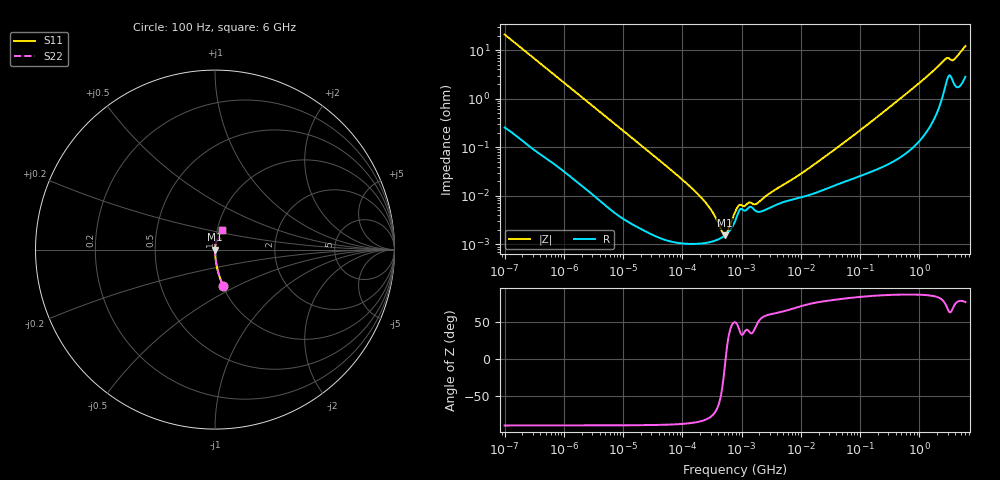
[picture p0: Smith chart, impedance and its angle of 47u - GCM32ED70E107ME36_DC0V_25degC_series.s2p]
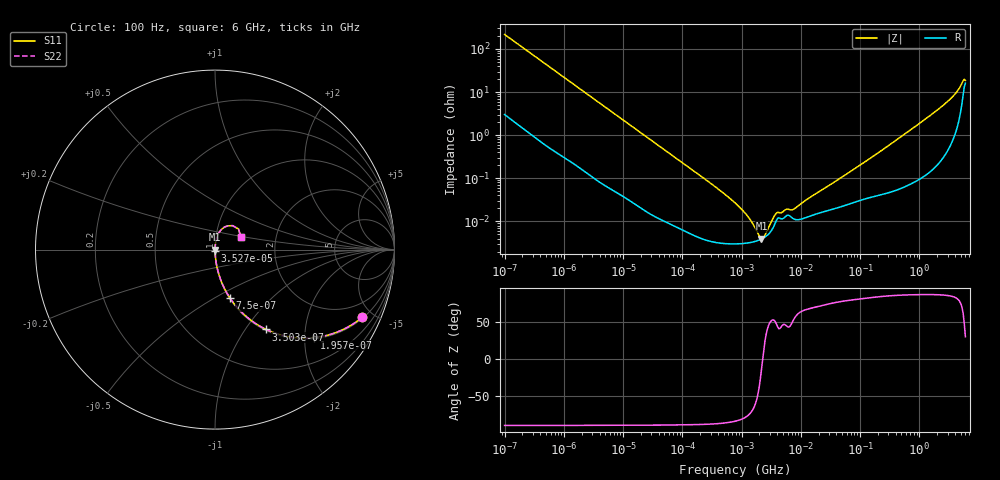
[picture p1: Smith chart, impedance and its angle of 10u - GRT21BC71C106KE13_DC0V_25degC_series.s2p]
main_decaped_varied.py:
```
# main_decaped_varied.py
# 2-port PDN from PowerSI (port 0 = IC, port 1 = decap node).
# Sweep five vendor capacitors (series S2P) connected from decap port to GND.
# Plot the IC |Z11| for each case on one figure (10 kHz – 200 MHz), using plot_z_matrix.

import numpy as np
import matplotlib.pyplot as plt
from copy import deepcopy
from pathlib import Path
import skrf as rf

from BEM_AC_NVM_PDN import short_1port, connect_1decap
from input_AH import touchstone_path, stackup_path
from pdn_analysis.plotting import plot_z_matrix

# ---------------- config ----------------
FSTART, FSTOP, NPOINTS = 10e3, 200e6, 201  # 10 kHz .. 200 MHz, log
# the five capacitors to compare (your filenames)
DECAP_FILES = [
    Path(r"capacitors\47u - GCM32ED70E107ME36_DC0V_25degC_series.s2p"),
    Path(r"capacitors\10u - GRT21BC71C106KE13_DC0V_25degC_series.s2p"),
    Path(r"capacitors\1u - GRM155C71C105ME11_DC0V_25degC_series.s2p"),
    Path(r"capacitors\220n - GCM21BR71H224KA37_DC0V_25degC_series.s2p"),
    Path(r"capacitors\100n - GCM155R71H104KE02_DC0V_25degC_series.s2p"),
]
TITLE = "IC |Z11| with Varied Decaps on Decap Port (PowerSI 2-port) — 10 kHz–200 MHz"


# ------------- helpers -------------
def _resolve(p: Path | str) -> Path:
    p = Path(p)
    return p if p.is_absolute() else (Path(__file__).parent / p).resolve()

def _cap_to_shunt_z11(series_s2p_path: Path, freq: rf.Frequency) -> np.ndarray:
    """
    Convert vendor 'series' S2P into a 1-port shunt model on 'freq'.
    Returns Z11(f) with shape (nf,1,1).
    """
    cap2p = rf.Network(str(series_s2p_path)).interpolate(freq)   # align grids
    cap1p, _ = short_1port(cap2p, shorted_port=1)                # short 'far' port -> shunt 1-port
    return cap1p.z                                               # (nf,1,1)


# --------------- main ---------------
if __name__ == "__main__":

    # frequency grid (no DC point)
    freq = np.logspace(np.log10(FSTART), np.log10(FSTOP), NPOINTS)
    Freq = rf.Frequency(start=FSTART/1e6, stop=FSTOP/1e6, npoints=NPOINTS,
                        unit="mhz", sweep_type="log")

    # load the 2-port PDN from PowerSI and put it on this grid
    ts_path = _resolve(touchstone_path)
    ntw = rf.Network(str(ts_path)).interpolate(Freq)
    Z2 = ntw.z
    nf, n, _ = Z2.shape
    assert n == 2, f"Expected a 2-port Touchstone (IC, decap). Got n={n}."

    # for each capacitor: build shunt Z, connect at port 1 (decap), reduce to IC (port 0)
    curves = []   # list of (label, Zred)
    for cap_path in DECAP_FILES:
        cap_path = _resolve(cap_path)
        if not cap_path.exists():
            raise FileNotFoundError(f"Capacitor file not found:\n  {cap_path}")

        Zcap = _cap_to_shunt_z11(cap_path, ntw.frequency)    # (nf,1,1)

        Zcur = deepcopy(Z2)
        port_map = [0, 1]                                    # current index -> original

        # connect at the decap port (original port 1)
        idx_dec = port_map.index(1)
        Zred, port_map = connect_1decap(Zcur, port_map, idx_dec, Zcap)  # -> (nf,1,1), keep IC
        assert len(port_map) == 1 and port_map[0] == 0

        curves.append((cap_path.name, Zred))

    # ---------- plot all five on one figure ----------
    # start the figure with the first curve via your helper
    first_label, first_Z = curves[0]
    fig, ax = plot_z_matrix(
        freq=freq,
        z_matrix=first_Z,       # (nf,1,1)
        indices=(0, 0),
        legend=[first_label],
        scale=("log", "log"),
        xlabel="Frequency (Hz)",
        ylabel="|Z| (Ω)",
        title=TITLE,
        color="tab:blue",
        linestyle="-",
        linewidth=2,
    )

    # add the rest
    COLORS = ["tab:orange", "tab:green", "tab:red", "tab:purple"]
    STYLES = ["-", "--", "-.", ":"]
    for (label, Zred), c, ls in zip(curves[1:], COLORS, STYLES):
        _ = plot_z_matrix(
            freq=freq,
            z_matrix=Zred,
            indices=(0, 0),
            legend=[label],
            color=c,
            linestyle=ls,
            linewidth=2,
            ax=ax,
        )

    # bottom captions (centered)
    board_text = f"Board: {Path(stackup_path).parent.name}"
    fig.text(0.5, 0.03, board_text, ha="center", va="bottom", fontsize=9)

    plt.show()
```
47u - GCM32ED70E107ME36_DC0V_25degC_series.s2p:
!Murata Part Number: GCM32ED70E107ME36
!These Parameters are Measured in Series Mode Connection
!  o--ll--o
!Port1  Port2
!  o------o
!Operation Temp=25[degC], DC Bias Voltage=0[V]
!Freq. Start=100[Hz] Stop=6[GHz], 401[Steps]
!Data Generated on Aug 1, 2022
# Hz S RI R 50
!Freq.(Hz) S11(Real) S11(Imag) S21(Real) S21(Imag) S12(Real) S12(Imag) S22(Real) S22(Imag)
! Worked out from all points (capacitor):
!   401 points, 100 Hz to 6 GHz, reference 50 ohm
!   read as one part in series: C = 75.4 uF near 109.4 Hz
!   lowest |Z| = 1.54 mohm at 517.7 kHz (marker M1)
!   series resonance near 536.9 kHz, so ESL is about 1.2 nH
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100  0.0447 -0.2006  0.9553 0.2006  0.9553 0.2006  0.0447 -0.2006
820.2246  0.00107 -0.0261  0.9989 0.0261  0.9989 0.0261  0.00107 -0.0261
184851.7  1.03e-05 -0.000107  1 0.000107  1 0.000107  1.03e-05 -0.000107
517687  1.51e-05 -3.17e-06  1 3.17e-06  1 3.17e-06  1.51e-05 -3.17e-06
774596.7  2.96e-05 3.45e-05  1 -3.45e-05  1 -3.45e-05  2.96e-05 3.45e-05
2594782  5.21e-05 8.45e-05  0.9999 -8.45e-05  0.9999 -8.45e-05  5.21e-05 8.45e-05
7947587  8.61e-05 0.000219  0.9999 -0.000219  0.9999 -0.000219  8.61e-05 0.000219
1.669249e8  0.000337 0.00361  0.9997 -0.00361  0.9997 -0.00361  0.000337 0.00361
2.679998e9  0.0193 0.0595  0.9807 -0.0595  0.9807 -0.0595  0.0193 0.0595
3.8344e9  0.0236 0.0576  0.9764 -0.0576  0.9764 -0.0576  0.0236 0.0576
6e9  0.0403 0.1101  0.9597 -0.1101  0.9597 -0.1101  0.0403 0.1101
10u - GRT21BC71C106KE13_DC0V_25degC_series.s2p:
!Murata Part Number: GRT21BC71C106KE13
!These Parameters are Measured in Series Mode Connection
!  o--ll--o
!Port1  Port2
!  o------o
!Operation Temp=25[degC], DC Bias Voltage=0[V]
!Freq. Start=100[Hz] Stop=6[GHz], 401[Steps]
!Data Generated on Dec 2, 2019
# Hz S RI R 50
!Freq.(Hz) S11(Real) S11(Imag) S21(Real) S21(Imag) S12(Real) S12(Imag) S22(Real) S22(Imag)
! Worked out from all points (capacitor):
!   401 points, 100 Hz to 6 GHz, reference 50 ohm
!   read as one part in series: C = 7.31 uF near 109.4 Hz
!   lowest |Z| = 4.02 mohm at 2.169 MHz (marker M1)
!   series resonance near 2.266 MHz, so ESL is about 680 pH
!   S11 on the Smith chart (normalised r, x): 100 Hz: 1.06, -4.34; 195.7 Hz: 1.03, -2.23; 350.3 Hz: 1.02, -1.25; 750 Hz: 1.01, -0.59; 35.27 kHz: 1.00, -0.01; 6 GHz: 1.32, +0.19
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100  0.8217 -0.3759  0.1783 0.3759  0.1783 0.3759  0.8217 -0.3759
195.7405  0.554 -0.4904  0.446 0.4904  0.446 0.4904  0.554 -0.4904
350.3246  0.2845 -0.4447  0.7155 0.4447  0.7155 0.4447  0.2845 -0.4447
749.9668  0.0828 -0.269  0.9172 0.269  0.9172 0.269  0.0828 -0.269
35265.05  0.000169 -0.00649  0.9998 0.00649  0.9998 0.00649  0.000169 -0.00649
774596.7  3.02e-05 -0.000268  1 0.000268  1 0.000268  3.02e-05 -0.000268
1449809  3.27e-05 -9.68e-05  1 9.68e-05  1 9.68e-05  3.27e-05 -9.68e-05
2169299  3.91e-05 -9.32e-06  1 9.32e-06  1 9.32e-06  3.91e-05 -9.32e-06
7947587  0.000111 0.000167  0.9999 -0.000167  0.9999 -0.000167  0.000111 0.000167
1.459435e8  0.000365 0.00284  0.9996 -0.00284  0.9996 -0.00284  0.000365 0.00284
6e9  0.1445 0.0697  0.8555 -0.0697  0.8555 -0.0697  0.1445 0.0697
